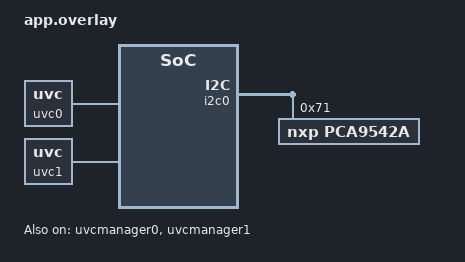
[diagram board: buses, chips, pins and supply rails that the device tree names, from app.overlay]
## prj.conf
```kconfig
CONFIG_ASSERT=y

# SHELL
CONFIG_SHELL=y
CONFIG_I2C_SHELL=y
CONFIG_KERNEL_SHELL=y
CONFIG_SHELL_BACKEND_SERIAL_CHECK_DTR=y

# LOG
CONFIG_LOG=y
CONFIG_LOG_MODE_MINIMAL=y
CONFIG_UDC_DRIVER_LOG_LEVEL_INF=y
CONFIG_USBD_LOG_LEVEL_WRN=y
CONFIG_USBD_UVC_LOG_LEVEL_WRN=y
CONFIG_VIDEO_LOG_LEVEL_DBG=y

# USB
CONFIG_USBD_VIDEO_CLASS=y
CONFIG_USBD_VIDEO_HEADER_SIZE=8

# VIDEO
CONFIG_VIDEO=y
CONFIG_VIDEO_IMX219=y
CONFIG_VIDEO_UVCMANAGER=y

# I2C
CONFIG_I2C_PCA9542A_ROOT_INIT_PRIO=1
CONFIG_I2C_PCA9542A_CHANNEL_INIT_PRIO=2
CONFIG_I2C_PCA9542A_IGNORE_FAILURE=y
```

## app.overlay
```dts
#include <zephyr/dt-bindings/usb/video.h>

/* Build a chain of video devices through "source = <&...>;":
 * - USB Video Class (UVC), exposing the controls to the host and communicating with it.
 * - UVC Manager, controlled by the UVC class protocol, doing I/O between the sensor and USB.
 * - IMX219 sensor, with configuration coming from the UVC Manager and the host before it.
 */

&zephyr_udc0 {

	endpoints {
		/* For UVC0 */
		ep@81 {
			reg = <0x81>;
			num-trbs = <4>;
			uvcmanager = <&uvcmanager0>;
		};

		/* For UVC1 */
		ep@82 {
			reg = <0x82>;
			num-trbs = <4>;
			uvcmanager = <&uvcmanager1>;
		};
	};

	uvc0: zephyr_uvc0 {
		compatible = "zephyr,uvc";

		/* A simplified topology of the device presented to the host,
		 * so that it can point at which element it controls.
		 */

		uvc0_ct: camera_terminal {
			compatible = "zephyr,uvc-control-it";
			control-target = <&imx219>;
		};

		uvc0_ot: output_terminal {
			compatible = "zephyr,uvc-control-ot";
			/* Receives .stream_start() and .set_format() */
			control-target = <&uvcmanager0>;
			source-entity = <&uvc0_it>;
		};

		/* Lists of formats presented to the host */

		format-uncompressed {
			compatible = "zephyr,uvc-format-uncompressed";
			fourcc = "YUYV";
			guid = [UVC_GUID_YUY2];
			bits-per-pixel = <16>;

			FHD {
				size = <1920 1080>;
				max-fps = <30>;
			};
		};
	};

	uvc1: zephyr_uvc1 {
		compatible = "zephyr,uvc";

		/* A simplified topology of the device presented to the host,
		 * so that it can point at which element it controls.
		 */

		uvc1_ct: camera_terminal {
			compatible = "zephyr,uvc-control-ct";
			control-ae-mode;
			control-exposure-time-absolute;
			control-target = <&imx219>;
		};

		uvc1_pu: processing_unit {
			compatible = "zephyr,uvc-control-pu";
			control-gain;
			control-target = <&imx219>;
			source-entity = <&uvc1_ct>;
		};

		uvc1_ot: output_terminal {
			compatible = "zephyr,uvc-control-ot";
			/* Receives .stream_start() and .set_format() */
			control-target = <&uvcmanager1>;
			source-entity = <&uvc1_pu>;
		};

		/* Lists of formats presented to the host */

		format-uncompressed {
			compatible = "zephyr,uvc-format-uncompressed";
			fourcc = "YUYV";
			guid = [UVC_GUID_YUY2];
			bits-per-pixel = <16>;

			FHD {
				size = <1920 1080>;
				max-fps = <30>;
			};
		};
	};
};

&uvcmanager0 {
	source = <&imx219>;
	fourcc = "BA81";
	status = "okay";
};

&uvcmanager1 {
	source = <&imx219>;
	fourcc = "BA81";
	status = "okay";
};

&i2c0 {
	pca9542a@71 {
		compatible = "nxp,pca9542a";
		reg = <0x71>;
		#address-cells = <1>;
		#size-cells = <0>;
 
		ch@0 {
			compatible = "nxp,pca9542a-channel";
			reg = <0>;
			#address-cells = <1>;
			#size-cells = <0>;
 
			imx219: imx219@10 {
				compatible = "sony,imx219";
				reg = <0x10>;
			};
		};
	};
};

/* Use a customized flash offset at which the program will be executed.
 * This affects the linker script, the firmware configuration, and the
 * "west flash" command which invokes "ecpprog -o 0x200000 zephyr.bin".
 */

&slot0_partition {
	reg = <0x200000 0x100000>;
};
```

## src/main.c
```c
#include <zephyr/kernel.h>
#include <zephyr/devicetree.h>
#include <zephyr/drivers/video.h>
#include <zephyr/logging/log.h>

LOG_MODULE_REGISTER(app, LOG_LEVEL_DBG);

static const struct device *uvc0_dev = DEVICE_DT_GET(DT_NODELABEL(uvc0));
static const struct device *uvc1_dev = DEVICE_DT_GET(DT_NODELABEL(uvc1));
const uintptr_t uvcmanager0_fifo = DT_REG_ADDR_BY_NAME(DT_NODELABEL(uvcmanager0), fifo);
const uintptr_t uvcmanager1_fifo = DT_REG_ADDR_BY_NAME(DT_NODELABEL(uvcmanager1), fifo);

int uvcmanager_enqueue_first_frame(const struct device *uvc_dev, uintptr_t fifo, struct video_buffer *vbuf)
{
	struct video_format fmt = {0};
	int ret;

	ret = video_get_format(uvc_dev, VIDEO_EP_IN, &fmt);
	if (ret == -EAGAIN) {
		return ret;
	}
	if (ret) {
		LOG_ERR("failed to get the video format");
		return ret;
	}

	/* The buffer address is the FIFO endpoint */
	vbuf->buffer = (void *)fifo;
	vbuf->size = vbuf->bytesused = fmt.pitch * fmt.height;
	vbuf->flags = VIDEO_BUF_EOF;

	LOG_INF("frame %ux%u, %u bytes, addr %p", fmt.width, fmt.height, fmt.pitch * fmt.height, vbuf->buffer);

	/* Only the first buffer needs to be enqueued when using the UVC Manager */
	ret = video_enqueue(uvc_dev, VIDEO_EP_IN, vbuf);
	if (ret) {
		LOG_ERR("%s: failed to enqueue the first frame", uvc_dev->name);
		return ret;
	}
	LOG_DBG("enqueued %p to %s", vbuf->buffer, uvc_dev->name);

	LOG_INF("FIFO 0x%08lx ready for I/O", fifo);
	return true;
}

int main(void)
{
	struct video_buffer vbuf0 = {0}, vbuf1 = {0};
	int ret;

	/* Get the video format once it is selected by the host */
	for (bool uvc0_ready = false, uvc1_ready = false; !uvc0_ready || !uvc1_ready;) {
		ret = uvcmanager_enqueue_first_frame(uvc0_dev, uvcmanager0_fifo, &vbuf0);
		if (ret < 0) {
			return ret;
		}
		uvc1_ready = ret;

		ret = uvcmanager_enqueue_first_frame(uvc1_dev, uvcmanager1_fifo, &vbuf1);
		if (ret < 0) {
			return ret;
		}
		uvc1_ready = ret;

		k_sleep(K_MSEC(10));
	}

	k_sleep(K_FOREVER);
	return 0;
}
```
